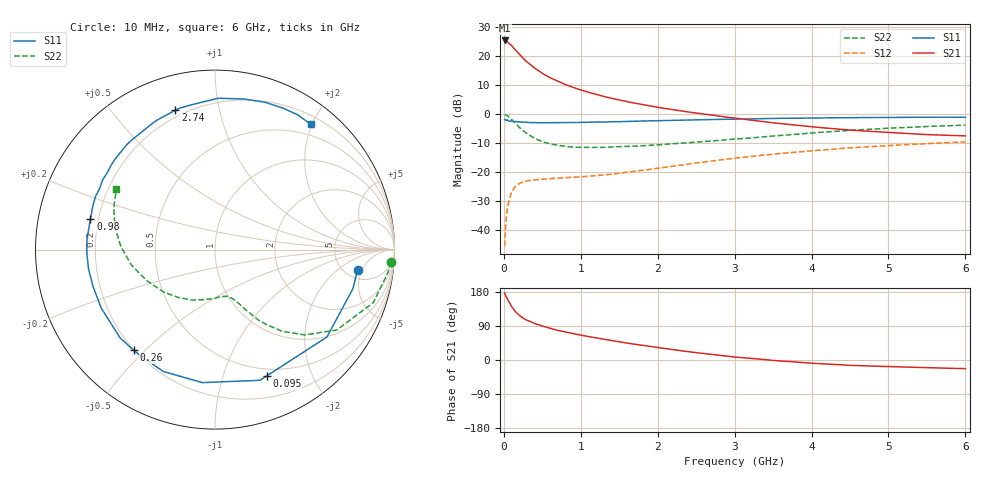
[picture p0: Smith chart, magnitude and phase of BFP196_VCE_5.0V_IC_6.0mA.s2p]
! Infineon Technologies  Discrete & RF Semiconductors
! BFP196
! VCE = 5.0 V,  IC = 6.0mA
! Common Emitter S-Parameters:  Jan 2016
# GHz  S  MA  R  50
!  f  S11  S21  S12  S22
! GHz  MAG  ANG  MAG  ANG  MAG  ANG  MAG  ANG
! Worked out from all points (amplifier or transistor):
!   210 points, 10 MHz to 6 GHz, reference 50 ohm
!   highest |S21| = 25.3 dB at 10 MHz (marker M1)
!   |S21| within 3 dB of that: start of sweep to 140.5 MHz
!   unconditionally stable (mu >= 1): 1.06 GHz to 3.327 GHz
!   at 185 MHz: K = 0.22, MSG = 22.7 dB, |S12| = -24.3 dB
!   at 1.52 GHz: K = 1.18, MAG = 10.0 dB, |S12| = -20.4 dB
!   at 6 GHz: K = 0.98, MSG = 1.0 dB, |S12| = -9.6 dB
!   S11 on the Smith chart (normalised r, x): 10 MHz: 6.52, -4.09; 95 MHz: 0.42, -1.40; 260 MHz: 0.20, -0.46; 980 MHz: 0.17, +0.12; 2.74 GHz: 0.17, +0.74; 6 GHz: 0.32, +1.98
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0.01  0.8024 -8.0  18.49 176.6  0.0053 84.8  0.9831 -4.0
0.02  0.7985 -15.9  18.06 170.9  0.0104 81.1  0.9717 -7.6
0.05  0.7912 -38.0  17.39 158.9  0.0258 71.1  0.9304 -18.5
0.095  0.7606 -67.8  15.33 143.4  0.0431 57.4  0.8224 -31.7
0.1  0.77 -71.0  15.19 141.4  0.0451 56.5  0.8135 -33.4
0.15  0.7445 -95.4  12.68 127.5  0.0567 45.8  0.6904 -43.5
0.2  0.7376 -113.0  10.79 118.0  0.0634 38.8  0.5904 -50.5
0.26  0.7211 -128.9  8.851 109.3  0.0683 33.2  0.5021 -55.8
0.3  0.7221 -137.1  7.876 104.8  0.0707 31.0  0.4602 -58.4
0.4  0.7125 -152.7  6.189 96.2  0.0736 27.3  0.3806 -62.7
0.5  0.7098 -162.8  5.019 89.4  0.0753 25.6  0.333 -65.8
0.6  0.7129 -171.3  4.229 83.6  0.0773 25.1  0.3065 -68.1
0.7  0.7145 -178.6  3.668 78.2  0.0786 25.1  0.2899 -70.4
0.98  0.715 166.1  2.65 66.5  0.0826 27.8  0.2667 -77.5
1.02  0.7168 164.2  2.55 64.9  0.0832 28.3  0.2659 -78.6
1.4  0.737 148.2  1.861 51.4  0.092 33.4  0.2711 -89.0
2.02  0.7672 127.0  1.292 32.4  0.1175 39.5  0.2948 -108.8
2.74  0.8071 105.9  0.941 14.0  0.1575 39.4  0.3459 -132.3
3.1  0.82 97.3  0.82 6.3  0.1793 36.9  0.3782 -143.8
4.1  0.8554 77.6  0.586 -9.5  0.2381 27.3  0.4821 -172.2
5.1  0.875 63.3  0.474 -17.9  0.291 15.3  0.5769 165.5
6  0.8789 52.7  0.42 -22.8  0.3313 3.8  0.6446 148.5
